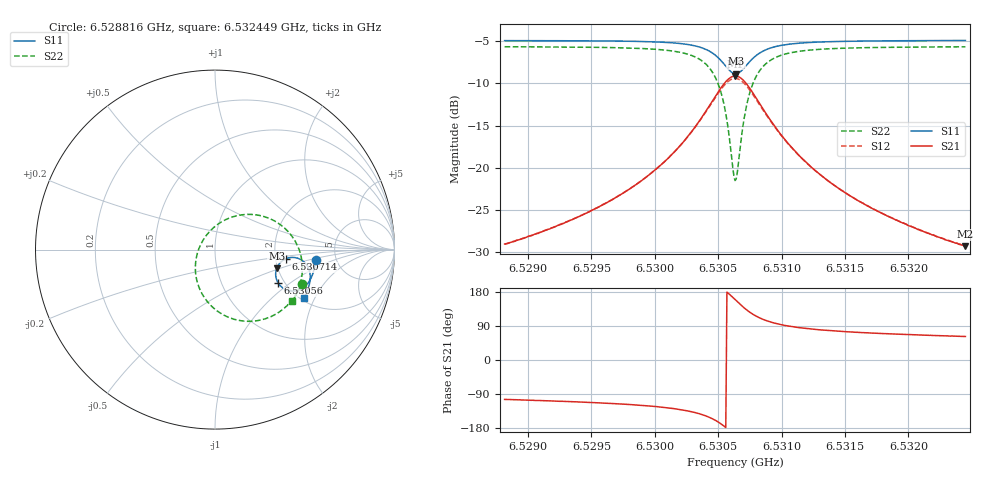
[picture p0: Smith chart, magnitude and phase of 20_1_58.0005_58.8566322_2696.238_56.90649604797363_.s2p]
#  HZ  S  RI  R  50.00
! Rohde & Schwarz Vector Network Analyzer
! Rohde-Schwarz,ZNB20-2Port,1311601062101988,3.16
! Created: UTC 3/21/2024, 12:51:08 AM
! freq[Hz]  re:S11  im:S11  re:S21  im:S21  re:S12  im:S12  re:S22  im:S22
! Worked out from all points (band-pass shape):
!   401 points, 6.528816 GHz to 6.532449 GHz, reference 50 ohm
!   highest |S21| = -9.15 dB at 6.530632 GHz (marker M1); lowest = -29.3 dB at 6.532449 GHz (marker M2)
!   |S21| within 3 dB of the highest: 6.530452 GHz to 6.530816 GHz (363.8 kHz wide, 0.00557 % of centre)
!   lowest |S11| = -8.9 dB at 6.530642 GHz (marker M3), VSWR 2.12, Z = 98.6 - j23.7 ohm
!   |S11| at or under -10 dB: nowhere
!   |S22| runs from -21.5 to -5.7 dB; largest |S21 - S12| = 0.015
!   S11 on the Smith chart (normalised r, x): 6.528816 GHz: 3.48, -0.60; 6.53056 GHz: 1.85, -0.82; 6.530714 GHz: 2.27, -0.28; 6.532449 GHz: 2.10, -1.66
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6.5288162e9  0.5611 -0.059  -0.00859 -0.0344  -0.00933 -0.0342  0.4822 -0.1924
6.5294246e9  0.5514 -0.112  -0.0188 -0.049  -0.0201 -0.0485  0.4494 -0.2541
6.5297334e9  0.5419 -0.1428  -0.0308 -0.0624  -0.0324 -0.0618  0.4185 -0.2944
6.5300331e9  0.5238 -0.1787  -0.0563 -0.0846  -0.0588 -0.0829  0.3604 -0.3461
6.530251e9  0.4934 -0.2108  -0.1038 -0.1085  -0.1072 -0.1046  0.2648 -0.3899
6.5304054e9  0.4433 -0.2304  -0.1843 -0.1155  -0.1869 -0.1072  0.1177 -0.3911
6.5304962e9  0.3916 -0.2215  -0.2657 -0.0819  -0.264 -0.07  -0.017 -0.3174
6.5305325e9  0.368 -0.2055  -0.3009 -0.0472  -0.2956 -0.0348  -0.0692 -0.2514
6.5305598e9  0.3523 -0.1867  -0.3226 -0.0102  -0.3143 0.00167  -0.0977 -0.1849
6.5306143e9  0.3381 -0.1337  -0.3355 0.0869  -0.3224 0.0936  -0.0988 -0.0222
6.5306324e9  0.3408 -0.114  -0.3269 0.1212  -0.3133 0.1254  -0.0778 0.032
6.5306415e9  0.3437 -0.1047  -0.3201 0.1376  -0.3064 0.1404  -0.0638 0.0573
6.5306597e9  0.3524 -0.0869  -0.302 0.1677  -0.2887 0.1682  -0.0282 0.103
6.5307142e9  0.3935 -0.0514  -0.2252 0.2263  -0.216 0.2224  0.1088 0.1853
6.5307505e9  0.4236 -0.0438  -0.1716 0.2387  -0.1655 0.2341  0.2001 0.1962
6.5307868e9  0.4502 -0.0453  -0.1256 0.2359  -0.1216 0.2316  0.2768 0.1827
6.5309049e9  0.5025 -0.0751  -0.0374 0.1909  -0.0359 0.189  0.4194 0.0861
6.531032e9  0.523 -0.1089  -0.00208 0.1449  -0.000954 0.1441  0.471 -0.00681
6.5312409e9  0.5305 -0.1495  0.0147 0.0987  0.0158 0.0985  0.487 -0.1024
6.5315224e9  0.5269 -0.1869  0.0187 0.0672  0.0196 0.0668  0.4789 -0.1748
6.5318493e9  0.518 -0.2197  0.0183 0.0479  0.0192 0.0477  0.4627 -0.2263
6.5324487e9  0.4976 -0.2686  0.0162 0.0304  0.0167 0.0302  0.4315 -0.2874
